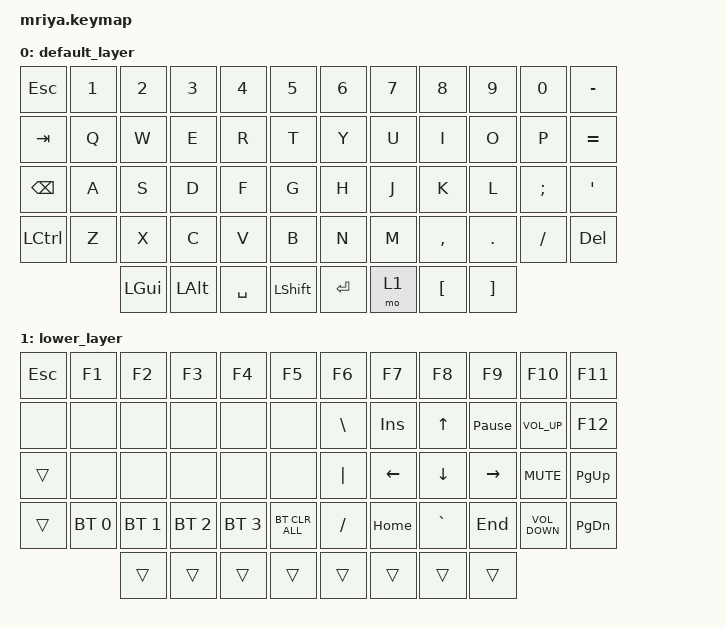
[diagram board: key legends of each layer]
/*
 * Copyright (c) 2023 Andrei Gaevskii
 *
 * SPDX-License-Identifier: MIT
 */

#include <behaviors.dtsi>
#include <dt-bindings/zmk/bt.h>
#include <dt-bindings/zmk/keys.h>

#define DEF 0
#define LWR 1
#define RSE 2
#define ADJ 3

&lt { quick_tap_ms = <200>; };

&mt { quick_tap_ms = <200>; };

/ {
    keymap {
        compatible = "zmk,keymap";

        default_layer {
            bindings = <
  &kp ESCAPE     &kp N1  &kp N2    &kp N3        &kp N4     &kp N5            &kp N6     &kp N7  &kp N8            &kp N9             &kp N0    &kp MINUS
  &kp TAB        &kp Q   &kp W     &kp E         &kp R      &kp T             &kp Y      &kp U   &kp I             &kp O              &kp P     &kp EQUAL
  &kp BACKSPACE  &kp A   &kp S     &kp D         &kp F      &kp G             &kp H      &kp J   &kp K             &kp L              &kp SEMI  &kp SINGLE_QUOTE
  &kp LCTRL      &kp Z   &kp X     &kp C         &kp V      &kp B             &kp N      &kp M   &kp COMMA         &kp DOT            &kp FSLH  &kp DELETE
                         &kp LGUI  &kp LEFT_ALT  &kp SPACE  &kp LEFT_SHIFT    &kp ENTER  &mo 1   &kp LEFT_BRACKET  &kp RIGHT_BRACKET
            >;
        };

        lower_layer {
            bindings = <
  &kp ESCAPE  &kp F1        &kp F2        &kp F3        &kp F4        &kp F5            &kp F6         &kp F7          &kp F8          &kp F9           &kp F10            &kp F11
  &none       &none         &none         &none         &none         &none             &kp BACKSLASH  &kp INS         &kp UP_ARROW    &kp PAUSE_BREAK  &kp C_VOLUME_UP    &kp F12
  &trans      &none         &none         &none         &none         &none             &kp PIPE       &kp LEFT_ARROW  &kp DOWN_ARROW  &kp RIGHT_ARROW  &kp C_MUTE         &kp PAGE_UP
  &trans      &bt BT_SEL 0  &bt BT_SEL 1  &bt BT_SEL 2  &bt BT_SEL 3  &bt BT_CLR_ALL    &kp SLASH      &kp HOME        &kp GRAVE       &kp END          &kp C_VOLUME_DOWN  &kp PAGE_DOWN
                            &trans        &trans        &trans        &trans            &trans         &trans          &trans          &trans
            >;
        };
    };
};
